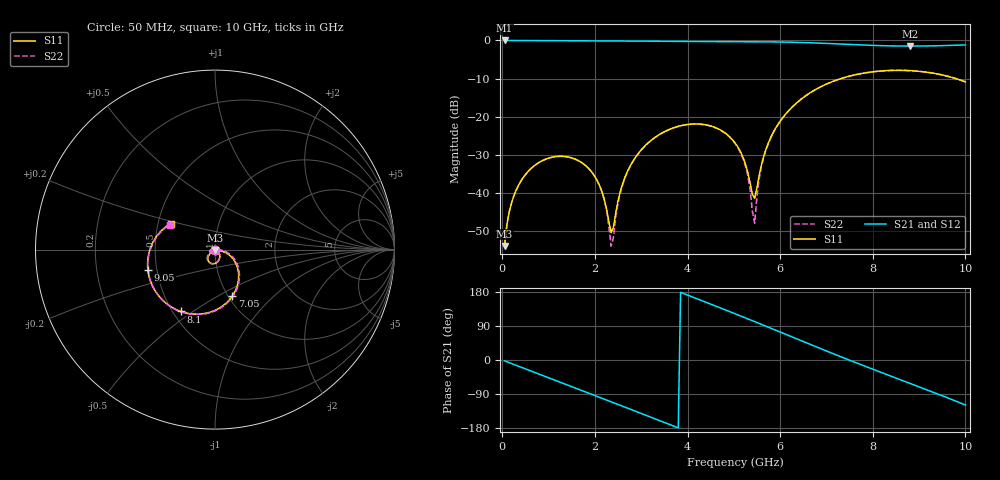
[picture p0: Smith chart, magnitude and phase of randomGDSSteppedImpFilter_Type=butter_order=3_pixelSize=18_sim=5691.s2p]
! freq	dB(S11)	phase(S11)	dB(S12)	phase(S12)
!  dB(S21)	phase(S21)	dB(S22)	phase(S22)
!S-par simulation data
#  GHz  S  DB  R 50
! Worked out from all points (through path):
!   200 points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, 50 MHz to 10 GHz, reference 50 ohm
!   highest |S21| = 0.00 dB at 50 MHz (marker M1); lowest = -1.5 dB at 8.8 GHz (marker M2)
!   group delay of S21, straight-line fit = 134 ps
!   lowest |S11| = -53.9 dB at 50 MHz (marker M3), VSWR 1.00, Z = 50 - j0.202 ohm
!   |S11| at or under -10 dB: start of sweep to 7.314 GHz; 9.795 GHz to end of sweep
!   |S22| runs from -53.9 to -7.8 dB; largest |S21 - S12| = 0
!   S11 on the Smith chart (normalised r, x): 50 MHz: 1.00, -0.00; 7.05 GHz: 1.05, -0.59; 8.1 GHz: 0.55, -0.45; 9.05 GHz: 0.45, -0.12; 10 GHz: 0.58, +0.18
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0.05  -53.90 -87.6  -0.00 -2.4  -0.00 -2.4  -53.89 -87.5
0.2  -42.60 -97.1  -0.02 -9.4  -0.02 -9.4  -42.60 -97.0
0.55  -34.45 -116.5  -0.04 -25.8  -0.04 -25.8  -34.45 -116.3
1.75  -32.35 -177.3  -0.09 -82.0  -0.09 -82.0  -32.35 -175.8
2.15  -39.60 154.3  -0.11 -100.8  -0.11 -100.8  -39.71 159.5
2.35  -50.39 82.1  -0.12 -110.3  -0.12 -110.3  -53.95 90.5
2.5  -42.02 -4.6  -0.13 -117.3  -0.13 -117.3  -42.55 -13.3
2.7  -34.42 -26.9  -0.15 -126.8  -0.15 -126.8  -34.55 -31.2
3.4  -24.61 -66.1  -0.21 -160.0  -0.21 -160.0  -24.64 -68.2
4.35  -22.04 -110.9  -0.30 154.7  -0.30 154.7  -22.08 -113.4
5.05  -27.28 -138.7  -0.33 120.9  -0.33 120.9  -27.43 -144.5
5.3  -34.55 -135.5  -0.33 108.7  -0.33 108.7  -35.37 -149.6
5.45  -41.37 -67.6  -0.34 101.3  -0.34 101.3  -47.92 -53.0
5.55  -35.20 -22.2  -0.35 96.3  -0.35 96.3  -36.02 -5.5
5.8  -25.38 -14.8  -0.37 83.9  -0.37 83.9  -25.44 -9.1
6.7  -13.34 -52.8  -0.63 38.7  -0.63 38.7  -13.33 -51.2
7.05  -11.18 -69.6  -0.80 21.3  -0.80 21.3  -11.17 -68.2
8.1  -8.09 -118.9  -1.34 -28.9  -1.34 -28.9  -8.09 -117.9
8.35  -7.88 -130.5  -1.42 -40.5  -1.42 -40.5  -7.88 -129.5
8.8  -7.91 -151.3  -1.48 -61.3  -1.48 -61.3  -7.91 -150.3
9.05  -8.16 -163.0  -1.46 -72.9  -1.46 -72.9  -8.15 -162.0
10  -10.87 149.5  -1.18 -118.9  -1.18 -118.9  -10.87 150.8
